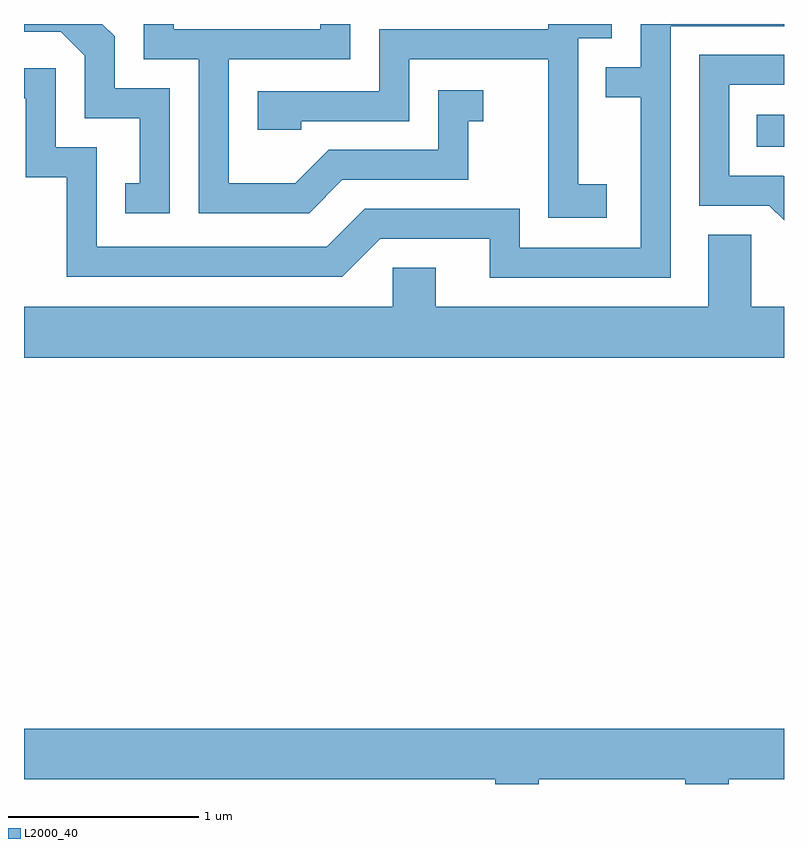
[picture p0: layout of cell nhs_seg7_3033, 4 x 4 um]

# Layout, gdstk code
import gdstk
lib = gdstk.Library(unit=1e-6, precision=1e-09)
def R(c, l, rs):  # rectangles x0, y0, x1, y1
    for r in rs: c.add(gdstk.rectangle(r[:2], r[2:], *l))
def P(c, l, *ps):  # polygons
    for p in ps: c.add(gdstk.Polygon(p, *l))
L2000_40 = (2000, 40)

nhs_seg7_3033 = lib.new_cell('nhs_seg7_3033')
R(nhs_seg7_3033, L2000_40, [(281.468,1757.606,281.611,1757.774)])
P(nhs_seg7_3033, L2000_40, [(279.287,1757.431),(279.949,1757.431),(279.949,1757.741),(280.028,1757.741),(280.028,1757.904),(279.791,1757.904),(279.791,1757.589),(279.214,1757.589),(279.039,1757.414),(278.689,1757.414),(278.689,1758.066),(279.329,1758.066),(279.329,1758.252),(279.171,1758.252),(279.171,1758.224),(278.399,1758.224),(278.399,1758.252),(278.241,1758.252),(278.241,1758.066),(278.531,1758.066),(278.531,1757.256),(279.112,1757.256)],
  [(281.014,1758.241),(281.611,1758.241),(281.611,1758.252),(280.856,1758.252),(280.856,1758.024),(280.673,1758.024),(280.673,1757.866),(280.856,1757.866),(280.856,1757.074),(280.219,1757.074),(280.219,1757.279),(279.404,1757.279),(279.204,1757.079),(277.994,1757.079),(277.994,1757.604),(277.779,1757.604),(277.779,1758.019),(277.611,1758.019),(277.611,1757.861),(277.621,1757.861),(277.621,1757.446),(277.836,1757.446),(277.836,1756.921),(279.287,1756.921),(279.487,1757.121),(280.061,1757.121),(280.061,1756.916),(281.014,1756.916)],
  [(280.679,1757.409),(280.529,1757.409),(280.529,1758.176),(280.704,1758.176),(280.704,1758.252),(280.371,1758.252),(280.371,1758.224),(279.481,1758.224),(279.481,1757.899),(278.841,1757.899),(278.841,1757.696),(279.069,1757.696),(279.069,1757.741),(279.639,1757.741),(279.639,1758.066),(280.371,1758.066),(280.371,1757.231),(280.679,1757.231)],
  [(278.379,1757.914),(278.089,1757.914),(278.089,1758.187),(278.024,1758.252),(277.611,1758.252),(277.611,1758.211),(277.804,1758.211),(277.931,1758.084),(277.931,1757.756),(278.221,1757.756),(278.221,1757.414),(278.143,1757.414),(278.143,1757.256),(278.379,1757.256)],
  [(281.611,1757.45),(281.607,1757.454),(281.324,1757.454),(281.324,1757.931),(281.611,1757.931),(281.611,1758.089),(281.166,1758.089),(281.166,1757.296),(281.534,1757.296),(281.611,1757.219)],
  [(281.611,1756.764),(281.439,1756.764),(281.439,1757.144),(281.211,1757.144),(281.211,1756.764),(279.779,1756.764),(279.779,1756.969),(279.551,1756.969),(279.551,1756.764),(277.611,1756.764),(277.611,1756.496),(281.611,1756.496)],
  [(280.319,1754.276),(281.091,1754.276),(281.091,1754.252),(281.319,1754.252),(281.319,1754.276),(281.611,1754.276),(281.611,1754.544),(277.611,1754.544),(277.611,1754.276),(280.091,1754.276),(280.091,1754.252),(280.319,1754.252)])

lib.write_gds('nhs_seg7_3033.gds')
